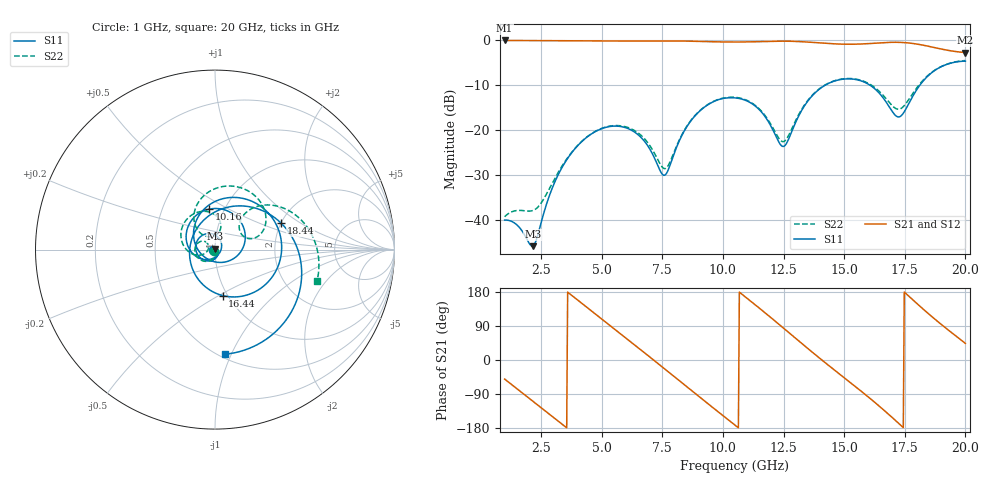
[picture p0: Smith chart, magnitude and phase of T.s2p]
! Touchstone file from project TestMultiLine
! Exported from HFSS 14.0.0
! Variables:
!  gap = 0mm
!  hair = 35mm
!  hsub = 0.762mm
!  l = 28mm
!  lair = 40mm
!  lmic = 14mm
!  w = 25mm
!  wair = 40mm
!  wmic = 2.1mm
!Data is not renormalized
# GHZ S MA
! Modal data exported
! Port[1] = 1:1
! Port[2] = 2:1
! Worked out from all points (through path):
!   476 points, 1 GHz to 20 GHz, reference per port
!   highest |S21| = -0.03 dB at 1 GHz (marker M1); lowest = -2.7 dB at 20 GHz (marker M2)
!   group delay of S21, straight-line fit = 144 ps
!   lowest |S11| = -45.9 dB at 2.16 GHz (marker M3), VSWR 1.01
!   |S11| at or under -10 dB: start of sweep to 14.22 GHz; 16.07 GHz to 18.12 GHz (2.053 GHz wide, 12 % of centre)
!   |S22| runs from -39.3 to -4.5 dB; largest |S21 - S12| = 6.7e-11
!   S11 on the Smith chart (normalised r, x): 1 GHz: 0.98, -0.01; 10.16 GHz: 0.85, +0.40; 16.44 GHz: 0.95, -0.52; 18.44 GHz: 2.01, +0.70; 20 GHz: 0.53, -0.95
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1  0.00991 -151.3  0.9967 -50.3  0.9967 -50.3  0.01083 -116.8
2.16  0.005078 76.3  0.9923 -108.6  0.9923 -108.6  0.01266 -116.0
3.24  0.03301 -62.2  0.99 -162.8  0.99 -162.8  0.03484 -93.1
4.2  0.07521 -122.7  0.9876 148.8  0.9876 148.8  0.07556 -120.9
5.64  0.1106 152.6  0.9823 76.1  0.9823 76.1  0.1122 -178.0
6.56  0.08606 95.5  0.9815 29.6  0.9815 29.6  0.09042 149.2
7.36  0.03784 16.3  0.9849 -11.1  0.9849 -11.1  0.04443 146.4
8.76  0.1349 -175.7  0.9769 -83.3  0.9769 -83.3  0.1362 -171.7
10.16  0.2278 98.3  0.958 -154.7  0.958 -154.7  0.2304 133.3
10.52  0.228 77.1  0.9573 -172.9  0.9573 -172.9  0.2314 118.8
11.32  0.1867 25.6  0.9645 146.4  0.9645 146.4  0.1897 88.5
12.24  0.07973 -63.7  0.9779 98.1  0.9779 98.1  0.08653 82.2
12.88  0.1022 173.7  0.9747 63.7  0.9747 63.7  0.1087 129.9
13.68  0.2406 102.0  0.9492 21.0  0.9492 21.0  0.2438 117.7
14.4  0.3352 55.0  0.9197 -16.4  0.9197 -16.4  0.3375 90.8
15.24  0.372 3.6  0.9043 -58.8  0.9043 -58.8  0.3755 58.2
16.44  0.2593 -80.7  0.936 -121.3  0.936 -121.3  0.2712 19.2
16.84  0.1851 -122.9  0.9483 -143.6  0.9483 -143.6  0.2063 17.1
17.6  0.1825 106.1  0.9381 172.3  0.9381 172.3  0.2063 47.9
18.44  0.3973 21.7  0.8627 124.2  0.8627 124.2  0.4028 37.9
19.16  0.5309 -29.1  0.7843 85.9  0.7843 85.9  0.532 12.8
20  0.5856 -84.6  0.7315 43.8  0.7315 43.8  0.5947 -17.2
